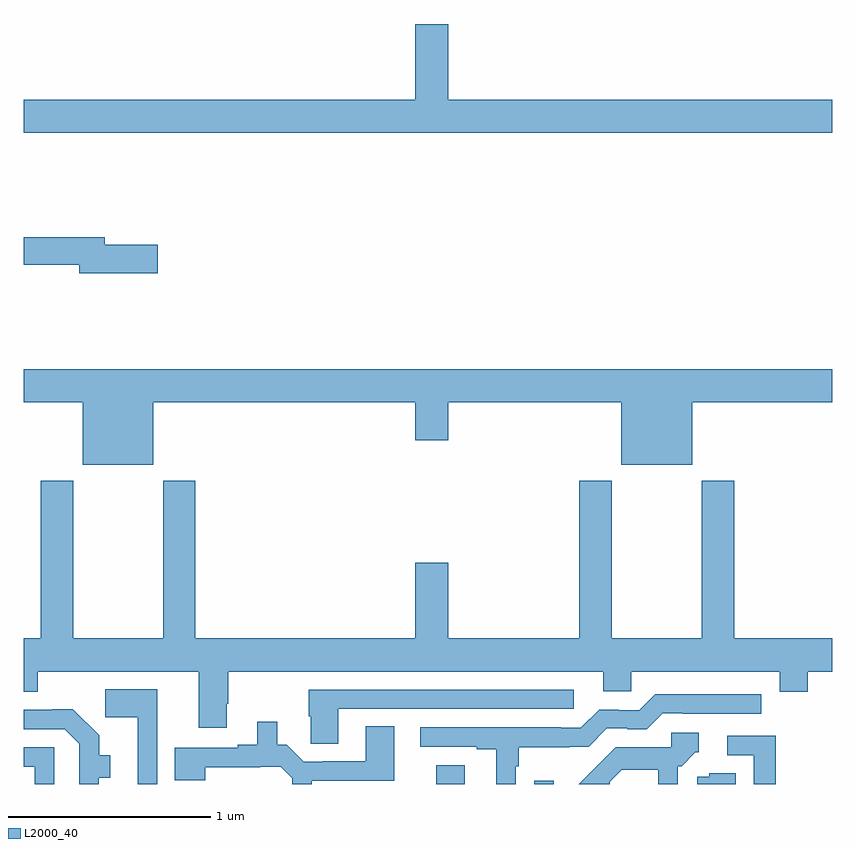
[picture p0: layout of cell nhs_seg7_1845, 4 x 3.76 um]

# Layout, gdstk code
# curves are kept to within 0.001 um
import gdstk
lib = gdstk.Library(unit=1e-6, precision=1e-09)
def R(c, l, rs):  # rectangles x0, y0, x1, y1
    for r in rs: c.add(gdstk.rectangle(r[:2], r[2:], *l))
def P(c, l, *ps):  # polygons
    for p in ps: c.add(gdstk.Polygon(p, *l))
L2000_40 = (2000, 40)

nhs_seg7_1845 = lib.new_cell('nhs_seg7_1845')
R(nhs_seg7_1845, L2000_40, [(237.041,1060,237.181,1060.093), (237.525,1060,237.621,1060.015)])
P(nhs_seg7_1845, L2000_40, [(239,1063.384),(237.1,1063.384),(237.1,1063.759),(236.936,1063.759),(236.936,1063.384),(235,1063.384),(235,1063.22),(239,1063.22)],
  [(235.663,1062.668),(235.402,1062.668),(235.402,1062.704),(235,1062.704),(235,1062.568),(235.274,1062.568),(235.274,1062.526),(235.663,1062.526)],
  [(235,1061.888),(235.292,1061.888),(235.292,1061.579),(235.642,1061.579),(235.642,1061.888),(236.936,1061.888),(236.936,1061.7),(237.1,1061.7),(237.1,1061.888),(237.956,1061.888),(237.956,1061.579),(238.306,1061.579),(238.306,1061.888),(239,1061.888),(239,1062.052),(235,1062.052)],
  [(236.005,1060.396),(236.013,1060.396),(236.013,1060.556),(237.866,1060.556),(237.866,1060.458),(238.005,1060.458),(238.005,1060.556),(238.739,1060.556),(238.739,1060.457),(238.879,1060.457),(238.879,1060.556),(239,1060.556),(239,1060.72),(238.514,1060.72),(238.514,1061.5),(238.354,1061.5),(238.354,1060.72),(237.909,1060.72),(237.909,1061.5),(237.749,1061.5),(237.749,1060.72),(237.1,1060.72),(237.1,1061.095),(236.936,1061.095),(236.936,1060.72),(235.85,1060.72),(235.85,1061.5),(235.69,1061.5),(235.69,1060.72),(235.245,1060.72),(235.245,1061.5),(235.085,1061.5),(235.085,1060.72),(235,1060.72),(235,1060.457),(235.071,1060.457),(235.071,1060.556),(235.865,1060.556),(235.865,1060.278),(236.005,1060.278)],
  [(235.662,1060.468),(235.404,1060.468),(235.404,1060.329),(235.565,1060.329),(235.565,1060),(235.662,1060)],
  [(236.557,1060.371),(237.721,1060.371),(237.721,1060.467),(236.41,1060.467),(236.41,1060.335),(236.419,1060.335),(236.419,1060.198),(236.557,1060.198)],
  [(237.435,1060.088),(237.448,1060.088),(237.448,1060.182),(237.698,1060.182),(237.698,1060.185),(237.795,1060.185),(237.885,1060.275),(237.986,1060.275),(237.986,1060.272),(238.083,1060.272),(238.161,1060.35),(238.261,1060.35),(238.261,1060.347),(238.648,1060.347),(238.648,1060.443),(238.123,1060.444),(238.044,1060.365),(237.944,1060.365),(237.944,1060.368),(237.846,1060.368),(237.756,1060.278),(237.656,1060.278),(237.656,1060.281),(236.961,1060.281),(236.961,1060.185),(237.242,1060.185),(237.242,1060.173),(237.338,1060.173),(237.338,1060),(237.435,1060)],
  [(235.372,1060.032),(235.429,1060.032),(235.429,1060.142),(235.373,1060.142),(235.373,1060.24),(235.243,1060.37),(235.142,1060.37),(235.142,1060.368),(235,1060.368),(235,1060.272),(235.203,1060.272),(235.275,1060.2),(235.275,1060),(235.372,1060)],
  [(236.424,1060.017),(236.833,1060.017),(236.833,1060.286),(236.693,1060.286),(236.693,1060.113),(236.479,1060.113),(236.479,1060.11),(236.385,1060.11),(236.301,1060.194),(236.254,1060.194),(236.254,1060.309),(236.156,1060.309),(236.156,1060.194),(236.06,1060.194),(236.06,1060.179),(235.747,1060.179),(235.747,1060.018),(235.899,1060.018),(235.899,1060.083),(236.171,1060.083),(236.171,1060.086),(236.271,1060.086),(236.328,1060.029),(236.328,1060),(236.424,1060)],
  [(237.898,1060.01),(237.959,1060.071),(238.138,1060.071),(238.138,1060),(238.236,1060),(238.236,1060.089),(238.254,1060.089),(238.323,1060.158),(238.339,1060.158),(238.339,1060.254),(238.203,1060.254),(238.203,1060.182),(237.929,1060.182),(237.832,1060.085),(237.831,1060.086),(237.746,1060),(237.898,1060)],
  [(238.72,1060.239),(238.479,1060.239),(238.479,1060.143),(238.611,1060.143),(238.611,1060),(238.72,1060)],
  [(235.152,1060.182),(235,1060.182),(235,1060.086),(235.056,1060.086),(235.056,1060),(235.152,1060)],
  [(238.521,1060.054),(238.392,1060.054),(238.392,1060.035),(238.332,1060.035),(238.332,1060),(238.521,1060)])

lib.write_gds('nhs_seg7_1845.gds')
